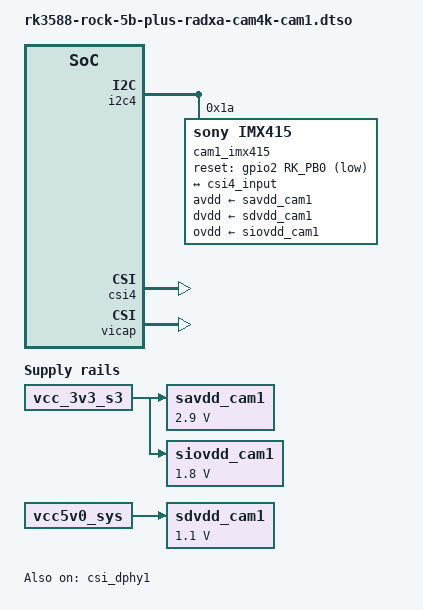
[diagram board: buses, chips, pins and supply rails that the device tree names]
// SPDX-License-Identifier: (GPL-2.0+ OR MIT)
/*
 * Device tree overlay for the Radxa Camera 4K attached to the CAM1 port of
 * the Radxa ROCK 5B+.
 */

/dts-v1/;
/plugin/;

#include <dt-bindings/clock/rockchip,rk3588-cru.h>
#include <dt-bindings/gpio/gpio.h>
#include <dt-bindings/pinctrl/rockchip.h>

&{/} {
	savdd_cam1: regulator-savdd-cam1 {
		compatible = "regulator-fixed";
		regulator-min-microvolt = <2900000>;
		regulator-max-microvolt = <2900000>;
		regulator-name = "savdd_cam1";
		vin-supply = <&vcc_3v3_s3>;
	};

	sdvdd_cam1: regulator-sdvdd-cam1 {
		compatible = "regulator-fixed";
		regulator-min-microvolt = <1100000>;
		regulator-max-microvolt = <1100000>;
		regulator-name = "sdvdd_cam1";
		vin-supply = <&vcc5v0_sys>;
	};

	siovdd_cam1: regulator-siovdd-cam1 {
		compatible = "regulator-fixed";
		regulator-min-microvolt = <1800000>;
		regulator-max-microvolt = <1800000>;
		regulator-name = "siovdd_cam1";
		vin-supply = <&vcc_3v3_s3>;
	};
};

&i2c4 {
	#address-cells = <1>;
	#size-cells = <0>;
	status = "okay";

	cam1_imx415: camera-sensor@1a {
		compatible = "sony,imx415";
		reg = <0x1a>;
		assigned-clocks = <&cru CLK_MIPI_CAMARAOUT_M4>;
		assigned-clock-rates = <37125000>;
		avdd-supply = <&savdd_cam1>;
		clocks = <&cru CLK_MIPI_CAMARAOUT_M4>;
		dvdd-supply = <&sdvdd_cam1>;
		orientation = <2>; /* External */
		ovdd-supply = <&siovdd_cam1>;
		pinctrl-names = "default";
		pinctrl-0 = <&cam1_rstn &mipim0_camera4_clk>;
		reset-gpios = <&gpio2 RK_PB0 GPIO_ACTIVE_LOW>;

		port {
			cam1_imx415_output: endpoint {
				data-lanes = <1 2 3 4>;
				link-frequencies = /bits/ 64 <445500000>;
				remote-endpoint = <&csi4_input>;
			};
		};
	};
};

&pinctrl {
	cam1 {
		cam1_rstn: cam1-rstn-pinctrl {
			rockchip,pins = <2 RK_PB0 RK_FUNC_GPIO &pcfg_pull_none>;
		};
	};
};

&csi4 {
	status = "okay";
};

&csi4_in {
	csi4_input: endpoint {
		data-lanes = <1 2 3 4>;
		link-frequencies = /bits/ 64 <445500000>;
		remote-endpoint = <&cam1_imx415_output>;
	};
};

&csi_dphy1 {
	status = "okay";
};

&vicap {
	status = "okay";
};

&vicap_mmu {
	status = "okay";
};
